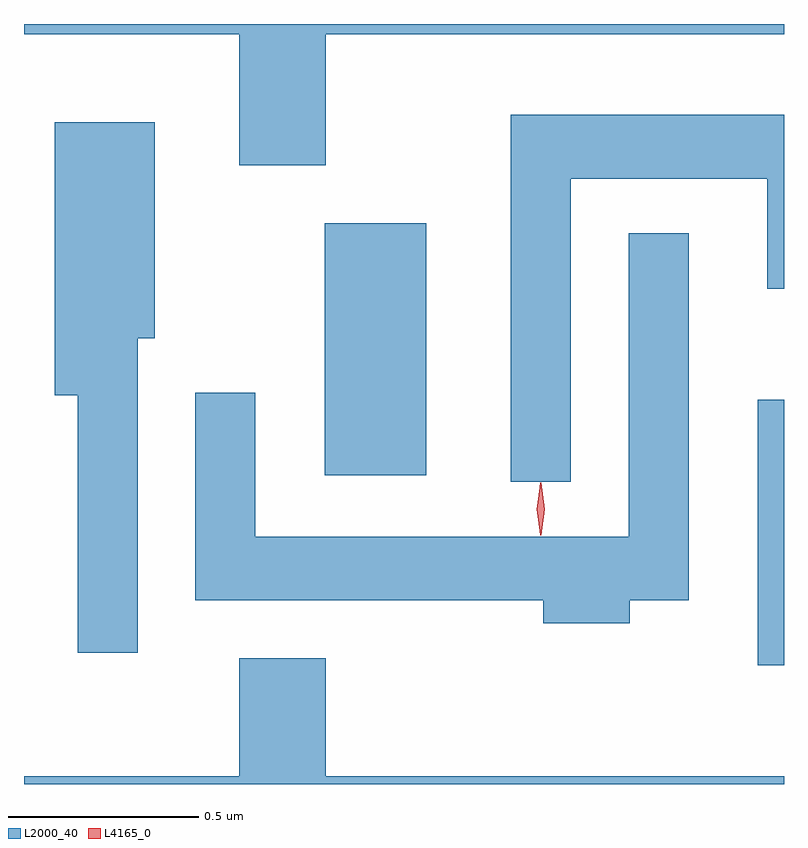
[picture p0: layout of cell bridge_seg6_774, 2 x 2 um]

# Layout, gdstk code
import gdstk
lib = gdstk.Library(unit=1e-6, precision=1e-09)
def R(c, l, rs):  # rectangles x0, y0, x1, y1
    for r in rs: c.add(gdstk.rectangle(r[:2], r[2:], *l))
def P(c, l, *ps):  # polygons
    for p in ps: c.add(gdstk.Polygon(p, *l))
L2000_40 = (2000, 40)
L4165_0 = (4165, 0)

bridge_seg6_774 = lib.new_cell('bridge_seg6_774')
R(bridge_seg6_774, L2000_40, [(419.536,1579.456,419.605,1580.154), (418.396,1579.956,418.664,1580.619)])
P(bridge_seg6_774, L2000_40, [(418.399,1581.116),(419.605,1581.116),(419.605,1581.143),(417.605,1581.143),(417.605,1581.116),(418.171,1581.116),(418.171,1580.771),(418.399,1580.771)],
  [(419.044,1580.736),(419.561,1580.736),(419.561,1580.446),(419.605,1580.446),(419.605,1580.904),(418.886,1580.904),(418.886,1579.938),(419.044,1579.938)],
  [(417.904,1580.316),(417.949,1580.316),(417.949,1580.884),(417.686,1580.884),(417.686,1580.166),(417.746,1580.166),(417.746,1579.488),(417.904,1579.488)],
  [(419.199,1579.626),(419.354,1579.626),(419.354,1580.593),(419.196,1580.593),(419.196,1579.794),(418.214,1579.794),(418.214,1580.173),(418.056,1580.173),(418.056,1579.626),(418.971,1579.626),(418.971,1579.566),(419.199,1579.566)],
  [(419.605,1579.164),(418.399,1579.164),(418.399,1579.474),(418.171,1579.474),(418.171,1579.164),(417.605,1579.164),(417.605,1579.143),(419.605,1579.143)])
P(bridge_seg6_774, L4165_0, [(418.965,1579.797),(418.964,1579.798),(418.955,1579.866),(418.964,1579.936),(418.965,1579.936),(418.966,1579.936),(418.975,1579.866),(418.966,1579.798)],
  [(418.964,1579.799),(418.964,1579.8),(418.954,1579.866),(418.964,1579.932),(418.964,1579.933),(418.965,1579.932),(418.974,1579.866),(418.965,1579.8)])

lib.write_gds('bridge_seg6_774.gds')
